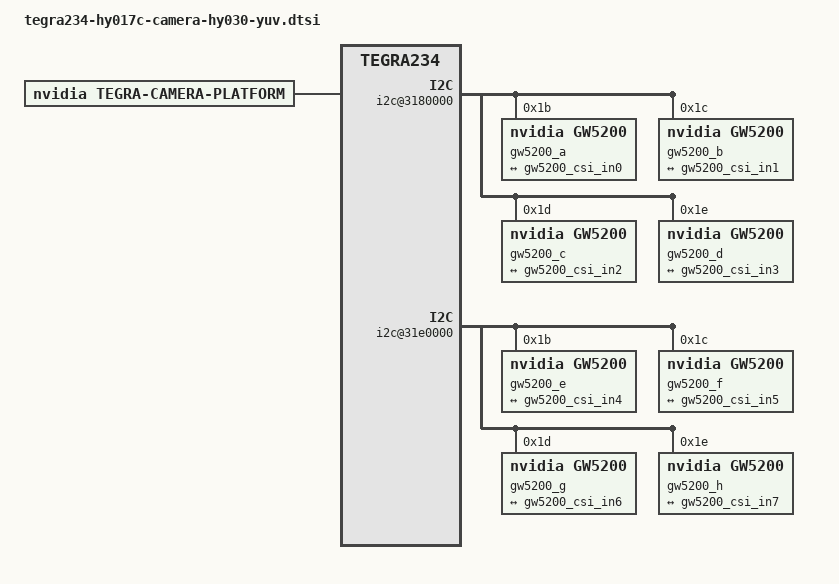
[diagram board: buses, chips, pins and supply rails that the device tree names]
/*
 * Copyright (c) 2018, NVIDIA CORPORATION.  All rights reserved.
 *
 * This program is free software; you can redistribute it and/or modify
 * it under the terms of the GNU General Public License as published by
 * the Free Software Foundation; either version 2 of the License, or
 * (at your option) any later version.
 *
 * This program is distributed in the hope that it will be useful, but WITHOUT
 * ANY WARRANTY; without even the implied warranty of MERCHANTABILITY or
 * FITNESS FOR A PARTICULAR PURPOSE.  See the GNU General Public License for
 * more details.
 *
 * You should have received a copy of the GNU General Public License
 * along with this program.  If not, see <http://www.gnu.org/licenses/>.
 */



/ {
		tegra-capture-vi {
			num-channels = <8>;
			ports {
				#address-cells = <1>;
				#size-cells = <0>;
            #if 1
				port@0 {
					reg = <0>;
					gw5200_vi_in0: endpoint {
						vc-id = <0>;
						port-index = <0>;
						bus-width = <4>;
						remote-endpoint = <&gw5200_csi_out0>;
					};
				};
				port@1 {
					reg = <1>;
					gw5200_vi_in1: endpoint {
						vc-id = <1>;
						port-index = <0>;
						bus-width = <4>;
						remote-endpoint = <&gw5200_csi_out1>;
					};
				};
				port@2 {
					reg = <2>;
					gw5200_vi_in2: endpoint {
						vc-id = <0>;
						port-index = <2>;
						bus-width = <4>;
						remote-endpoint = <&gw5200_csi_out2>;
					};
				};
				port@3 {
					reg = <3>;
					gw5200_vi_in3: endpoint {
						vc-id = <1>;
						port-index = <2>;
						bus-width = <4>;
						remote-endpoint = <&gw5200_csi_out3>;
					};
				};
            #endif
            #if 1
				port@4 {
					reg = <4>;
					gw5200_vi_in4: endpoint {
						vc-id = <0>;
						port-index = <5>;
						bus-width = <4>;
						remote-endpoint = <&gw5200_csi_out4>;
					};
				};
				port@5 {
					reg = <5>;
					gw5200_vi_in5: endpoint {
						vc-id = <1>;
						port-index = <5>;
						bus-width = <4>;
						remote-endpoint = <&gw5200_csi_out5>;
					};
				};	
				port@6 {
					reg = <6>;
					gw5200_vi_in6: endpoint {
						vc-id = <0>;
						port-index = <4>;
						bus-width = <4>;
						remote-endpoint = <&gw5200_csi_out6>;
					};
				};
				port@7 {
					reg = <7>;
					gw5200_vi_in7: endpoint {
						vc-id = <1>;
						port-index = <4>;
						bus-width = <4>;
						remote-endpoint = <&gw5200_csi_out7>;
					};
				};
            #endif
			};
		};

	host1x@13e00000 {
		nvcsi@15a00000 {
			num-channels = <8>;
			#address-cells = <1>;
			#size-cells = <0>;
        #if 1
			channel@0 {
				reg = <0>;
				ports {
					#address-cells = <1>;
					#size-cells = <0>;
					port@0 {
						reg = <0>;
						gw5200_csi_in0: endpoint@0 {
							port-index = <0>;
							bus-width = <4>;
							remote-endpoint = <&gw5200_gw5200_out0>;
						};
					};

					port@1 {
						reg = <1>;
						gw5200_csi_out0: endpoint@1 {
							remote-endpoint = <&gw5200_vi_in0>;
						};
					};

				};
			};
			channel@1 {
				reg = <1>;
				ports {
					#address-cells = <1>;
					#size-cells = <0>;
					port@0 {
						reg = <0>;
						gw5200_csi_in1: endpoint@2 {
							port-index = <0>;
							bus-width = <4>;
							remote-endpoint = <&gw5200_gw5200_out1>;
						};
					};
					port@1 {
						reg = <1>;
						gw5200_csi_out1: endpoint@3 {
							remote-endpoint = <&gw5200_vi_in1>;
						};
					};
				};
			};
			channel@2 {
				reg = <2>;
				ports {
					#address-cells = <1>;
					#size-cells = <0>;
					port@0 {
						reg = <0>;
						gw5200_csi_in2: endpoint@4 {
							port-index = <2>;
							bus-width = <4>;
							remote-endpoint = <&gw5200_gw5200_out2>;
						};
					};
					port@1 {
						reg = <1>;
						gw5200_csi_out2: endpoint@5 {
							remote-endpoint = <&gw5200_vi_in2>;
						};
					};
				};
			};
			channel@3 {
				reg = <3>;
				ports {
					#address-cells = <1>;
					#size-cells = <0>;
					port@0 {
						reg = <0>;
						gw5200_csi_in3: endpoint@6 {
							port-index = <2>;
							bus-width = <4>;
							remote-endpoint = <&gw5200_gw5200_out3>;
						};
					};
					port@1 {
						reg = <1>;
						gw5200_csi_out3: endpoint@7 {
							remote-endpoint = <&gw5200_vi_in3>;
						};
					};
				};
			};
        #endif
        #if 1
			channel@4 {
				reg = <4>;
				ports {
					#address-cells = <1>;
					#size-cells = <0>;
					port@0 {
						reg = <0>;
						gw5200_csi_in4: endpoint@8 {
							port-index = <6>;
							bus-width = <4>;
							remote-endpoint = <&gw5200_gw5200_out4>;
						};
					};

					port@1 {
						reg = <1>;
						gw5200_csi_out4: endpoint@9 {
							remote-endpoint = <&gw5200_vi_in4>;
						};
					};

				};
			};
			channel@5 {
				reg = <5>;
				ports {
					#address-cells = <1>;
					#size-cells = <0>;
					port@0 {
						reg = <0>;
						gw5200_csi_in5: endpoint@10 {
							port-index = <6>;
							bus-width = <4>;
							remote-endpoint = <&gw5200_gw5200_out5>;
						};
					};
					port@1 {
						reg = <1>;
						gw5200_csi_out5: endpoint@11 {
							remote-endpoint = <&gw5200_vi_in5>;
						};
					};
				};
			};
			channel@6 {
				reg = <6>;
				ports {
					#address-cells = <1>;
					#size-cells = <0>;
					port@0 {
						reg = <0>;
						gw5200_csi_in6: endpoint@12 {
							port-index = <4>;
							bus-width = <4>;
							remote-endpoint = <&gw5200_gw5200_out6>;
						};
					};
					port@1 {
						reg = <1>;
						gw5200_csi_out6: endpoint@13 {
							remote-endpoint = <&gw5200_vi_in6>;
						};
					};
				};
			};
			channel@7 {
				reg = <7>;
				ports {
					#address-cells = <1>;
					#size-cells = <0>;
					port@0 {
						reg = <0>;
						gw5200_csi_in7: endpoint@14 {
							port-index = <4>;
							bus-width = <4>;
							remote-endpoint = <&gw5200_gw5200_out7>;
						};
					};
					port@1 {
						reg = <1>;
						gw5200_csi_out7: endpoint@15 {
							remote-endpoint = <&gw5200_vi_in7>;
						};
					};
				};
			};
        #endif
		};

	};

	i2c@3180000 {

			gw5200_a@1b {
				compatible = "nvidia,gw5200";

				reg = <0x1b>;

				/* Physical dimensions of sensor */
				physical_w = "15.0";
				physical_h = "12.5";

				sensor_model ="hy030";

				/* Defines number of frames to be dropped by driver internally after applying */
				/* sensor crop settings. Some sensors send corrupt frames after applying */
				/* crop co-ordinates */
				post_crop_frame_drop = "2";

				/* Convert Gain to unit of dB (decibel) befor passing to kernel driver */
				use_decibel_gain = "true";

				/* enable CID_SENSOR_MODE_ID for sensor modes selection */
				use_sensor_mode_id = "true";

				mode0 {/*mode HY030_MODE_1920X1080_CROP_30FPS*/
					mclk_khz = "24000";
					num_lanes = "4";
					tegra_sinterface = "serial_a";
					vc_id = "0";
					discontinuous_clk = "no";
					dpcm_enable = "false";
					cil_settletime = "0";
					mode_type = "yuv";
					pixel_phase = "yuyv";
					csi_pixel_bit_depth = "16";

					active_w = "1920";
					active_h = "1080";
					readout_orientation = "0";
					line_length = "4400";
					inherent_gain = "1";
					pix_clk_hz = "148500000";
					serdes_pix_clk_hz = "300000000";

					gain_factor = "10";
					min_gain_val = "0"; /* dB */
					max_gain_val = "300"; /* dB */
					step_gain_val = "3"; /* 0.3 */
					default_gain = "0";
					min_hdr_ratio = "1";
					max_hdr_ratio = "1";
					framerate_factor = "1000000";
					min_framerate = "30000000";
					max_framerate = "30000000";
					step_framerate = "1";
					default_framerate = "30000000";
					exposure_factor = "1000000";
					min_exp_time = "59"; /*us, 2 lines*/
					max_exp_time = "33333";
					step_exp_time = "1";
					default_exp_time = "33333";/* us */
					embedded_metadata_height = "0";
				};
				ports {
					#address-cells = <1>;
					#size-cells = <0>;
					port@0 {
						reg = <0>;
						gw5200_gw5200_out0: endpoint {
							vc-id = <0>;
							port-index = <0>;
							bus-width = <4>;
							remote-endpoint = <&gw5200_csi_in0>;
							};
						};
					};
				gmsl-link {
					src-csi-port = "b";
					dst-csi-port = "b";
					serdes-csi-link = "a";
					csi-mode = "1x4";
					st-vc = <0>;
					vc-id = <0>;
					num-lanes = <4>;
					streams = "yuv422-8";
					};
				};
			gw5200_b@1c {
				compatible = "nvidia,gw5200";

				reg = <0x1c>;

				/* Physical dimensions of sensor */
				physical_w = "15.0";
				physical_h = "12.5";

				sensor_model ="hy030";

				/* Defines number of frames to be dropped by driver internally after applying */
				/* sensor crop settings. Some sensors send corrupt frames after applying */
				/* crop co-ordinates */
				post_crop_frame_drop = "2";

				/* Convert Gain to unit of dB (decibel) befor passing to kernel driver */
				use_decibel_gain = "true";

				/* enable CID_SENSOR_MODE_ID for sensor modes selection */
				use_sensor_mode_id = "true";

				mode0 {/*mode HY030_MODE_1920X1080_CROP_30FPS*/
					mclk_khz = "24000";
					num_lanes = "4";
					tegra_sinterface = "serial_a";
					vc_id = "1";
					discontinuous_clk = "no";
					dpcm_enable = "false";
					cil_settletime = "0";
					mode_type = "yuv";
					pixel_phase = "yuyv";
					csi_pixel_bit_depth = "16";

					active_w = "1920";
					active_h = "1080";
					readout_orientation = "0";
					line_length = "4400";
					inherent_gain = "1";
					pix_clk_hz = "148500000";
					serdes_pix_clk_hz = "300000000";

					gain_factor = "10";
					min_gain_val = "0"; /* dB */
					max_gain_val = "300"; /* dB */
					step_gain_val = "3"; /* 0.3 */
					default_gain = "0";
					min_hdr_ratio = "1";
					max_hdr_ratio = "1";
					framerate_factor = "1000000";
					min_framerate = "30000000";
					max_framerate = "30000000";
					step_framerate = "1";
					default_framerate = "30000000";
					exposure_factor = "1000000";
					min_exp_time = "59"; /*us, 2 lines*/
					max_exp_time = "33333";
					step_exp_time = "1";
					default_exp_time = "33333";/* us */
					embedded_metadata_height = "0";
				};
				ports {
					#address-cells = <1>;
					#size-cells = <0>;
					port@0 {
						reg = <0>;
						gw5200_gw5200_out1: endpoint {
							vc-id = <1>;
							port-index = <0>;
							bus-width = <4>;
							remote-endpoint = <&gw5200_csi_in1>;
							};
						};
					};
				gmsl-link {
					src-csi-port = "b";
					dst-csi-port = "b";
					serdes-csi-link = "b";
					csi-mode = "1x4";
					st-vc = <0>;
					vc-id = <1>;
					num-lanes = <4>;
					streams = "yuv422-8";
					};
				};

			gw5200_c@1d {
				compatible = "nvidia,gw5200";

				reg = <0x1d>;

				/* Physical dimensions of sensor */
				physical_w = "15.0";
				physical_h = "12.5";

				sensor_model ="hy030";

				/* Defines number of frames to be dropped by driver internally after applying */
				/* sensor crop settings. Some sensors send corrupt frames after applying */
				/* crop co-ordinates */
				post_crop_frame_drop = "2";

				/* Convert Gain to unit of dB (decibel) befor passing to kernel driver */
				use_decibel_gain = "true";

				/* enable CID_SENSOR_MODE_ID for sensor modes selection */
				use_sensor_mode_id = "true";

				mode0 {/*mode HY030_MODE_1920X1080_CROP_30FPS*/
					mclk_khz = "24000";
					num_lanes = "4";
					tegra_sinterface = "serial_c";
					vc_id = "0";
					discontinuous_clk = "no";
					dpcm_enable = "false";
					cil_settletime = "0";
					mode_type = "yuv";
					pixel_phase = "yuyv";
					csi_pixel_bit_depth = "16";

					active_w = "1920";
					active_h = "1080";
					readout_orientation = "0";
					line_length = "4400";
					inherent_gain = "1";
					pix_clk_hz = "148500000";
					serdes_pix_clk_hz = "300000000";

					gain_factor = "10";
					min_gain_val = "0"; /* dB */
					max_gain_val = "300"; /* dB */
					step_gain_val = "3"; /* 0.3 */
					default_gain = "0";
					min_hdr_ratio = "1";
					max_hdr_ratio = "1";
					framerate_factor = "1000000";
					min_framerate = "30000000";
					max_framerate = "30000000";
					step_framerate = "1";
					default_framerate = "30000000";
					exposure_factor = "1000000";
					min_exp_time = "59"; /*us, 2 lines*/
					max_exp_time = "33333";
					step_exp_time = "1";
					default_exp_time = "33333";/* us */
					embedded_metadata_height = "0";
				};
				ports {
					#address-cells = <1>;
					#size-cells = <0>;
					port@0 {
						reg = <0>;
						gw5200_gw5200_out2: endpoint {
							vc-id = <0>;
							port-index = <2>;
							bus-width = <4>;
							remote-endpoint = <&gw5200_csi_in2>;
							};
						};
					};
				gmsl-link {
					src-csi-port = "b";
					dst-csi-port = "b";
					serdes-csi-link = "a";
					csi-mode = "1x4";
					st-vc = <0>;
					vc-id = <0>;
					num-lanes = <4>;
					streams = "yuv422-8";
					};
				};

			gw5200_d@1e{
				compatible = "nvidia,gw5200";

				reg = <0x1e>;

				/* Physical dimensions of sensor */
				physical_w = "15.0";
				physical_h = "12.5";

				sensor_model ="hy030";

				/* Defines number of frames to be dropped by driver internally after applying */
				/* sensor crop settings. Some sensors send corrupt frames after applying */
				/* crop co-ordinates */
				post_crop_frame_drop = "2";

				/* Convert Gain to unit of dB (decibel) befor passing to kernel driver */
				use_decibel_gain = "true";

				/* enable CID_SENSOR_MODE_ID for sensor modes selection */
				use_sensor_mode_id = "true";

				mode0 {/*mode HY030_MODE_1920X1080_CROP_30FPS*/
					mclk_khz = "24000";
					num_lanes = "4";
					tegra_sinterface = "serial_c";
					vc_id = "1";
					discontinuous_clk = "no";
					dpcm_enable = "false";
					cil_settletime = "0";
					mode_type = "yuv";
					pixel_phase = "yuyv";
					csi_pixel_bit_depth = "16";

					active_w = "1920";
					active_h = "1080";
					readout_orientation = "0";
					line_length = "4400";
					inherent_gain = "1";
					pix_clk_hz = "148500000";
					serdes_pix_clk_hz = "300000000";

					gain_factor = "10";
					min_gain_val = "0"; /* dB */
					max_gain_val = "300"; /* dB */
					step_gain_val = "3"; /* 0.3 */
					default_gain = "0";
					min_hdr_ratio = "1";
					max_hdr_ratio = "1";
					framerate_factor = "1000000";
					min_framerate = "30000000";
					max_framerate = "30000000";
					step_framerate = "1";
					default_framerate = "30000000";
					exposure_factor = "1000000";
					min_exp_time = "59"; /*us, 2 lines*/
					max_exp_time = "33333";
					step_exp_time = "1";
					default_exp_time = "33333";/* us */
					embedded_metadata_height = "0";
				};
				ports {
					#address-cells = <1>;
					#size-cells = <0>;
					port@0 {
						reg = <0>;
						gw5200_gw5200_out3: endpoint {
							vc-id = <1>;
							port-index = <2>;
							bus-width = <4>;
							remote-endpoint = <&gw5200_csi_in3>;
							};
						};
					};
				gmsl-link {
					src-csi-port = "b";
					dst-csi-port = "b";
					serdes-csi-link = "b";
					csi-mode = "1x4";
					st-vc = <0>;
					vc-id = <1>;
					num-lanes = <4>;
					streams = "yuv422-8";
					};
				};
	};
    #if 1
	i2c@31e0000 {
			gw5200_e@1b {
				compatible = "nvidia,gw5200";

				reg = <0x1b>;

				/* Physical dimensions of sensor */
				physical_w = "15.0";
				physical_h = "12.5";

				sensor_model ="hy030";

				/* Defines number of frames to be dropped by driver internally after applying */
				/* sensor crop settings. Some sensors send corrupt frames after applying */
				/* crop co-ordinates */
				post_crop_frame_drop = "2";

				/* Convert Gain to unit of dB (decibel) befor passing to kernel driver */
				use_decibel_gain = "true";

				/* enable CID_SENSOR_MODE_ID for sensor modes selection */
				use_sensor_mode_id = "true";

				mode0 {/*mode HY030_MODE_1920X1080_CROP_30FPS*/
					mclk_khz = "24000";
					num_lanes = "4";
					tegra_sinterface = "serial_g";
					vc_id = "0";
					discontinuous_clk = "no";
					dpcm_enable = "false";
					cil_settletime = "0";
					mode_type = "yuv";
					pixel_phase = "yuyv";
					csi_pixel_bit_depth = "16";

					active_w = "1920";
					active_h = "1080";
					readout_orientation = "0";
					line_length = "4400";
					inherent_gain = "1";
					pix_clk_hz = "148500000";
					serdes_pix_clk_hz = "300000000";

					gain_factor = "10";
					min_gain_val = "0"; /* dB */
					max_gain_val = "300"; /* dB */
					step_gain_val = "3"; /* 0.3 */
					default_gain = "0";
					min_hdr_ratio = "1";
					max_hdr_ratio = "1";
					framerate_factor = "1000000";
					min_framerate = "30000000";
					max_framerate = "30000000";
					step_framerate = "1";
					default_framerate = "30000000";
					exposure_factor = "1000000";
					min_exp_time = "59"; /*us, 2 lines*/
					max_exp_time = "33333";
					step_exp_time = "1";
					default_exp_time = "33333";/* us */
					embedded_metadata_height = "0";
				};
				ports {
					#address-cells = <1>;
					#size-cells = <0>;
					port@0 {
						reg = <0>;
						gw5200_gw5200_out4: endpoint {
							vc-id = <0>;
							port-index = <6>;
							bus-width = <4>;
							remote-endpoint = <&gw5200_csi_in4>;
							};
						};
					};
				gmsl-link {
					src-csi-port = "b";
					dst-csi-port = "b";
					serdes-csi-link = "a";
					csi-mode = "1x4";
					st-vc = <0>;
					vc-id = <0>;
					num-lanes = <4>;
					streams = "yuv422-8";
					};
				};
			gw5200_f@1c {
				compatible = "nvidia,gw5200";

				reg = <0x1c>;

				/* Physical dimensions of sensor */
				physical_w = "15.0";
				physical_h = "12.5";

				sensor_model ="hy030";

				/* Defines number of frames to be dropped by driver internally after applying */
				/* sensor crop settings. Some sensors send corrupt frames after applying */
				/* crop co-ordinates */
				post_crop_frame_drop = "2";

				/* Convert Gain to unit of dB (decibel) befor passing to kernel driver */
				use_decibel_gain = "true";

				/* enable CID_SENSOR_MODE_ID for sensor modes selection */
				use_sensor_mode_id = "true";

				mode0 {/*mode HY030_MODE_1920X1080_CROP_30FPS*/
					mclk_khz = "24000";
					num_lanes = "4";
					tegra_sinterface = "serial_g";
					vc_id = "1";
					discontinuous_clk = "no";
					dpcm_enable = "false";
					cil_settletime = "0";
					mode_type = "yuv";
					pixel_phase = "yuyv";
					csi_pixel_bit_depth = "16";

					active_w = "1920";
					active_h = "1080";
					readout_orientation = "0";
					line_length = "4400";
					inherent_gain = "1";
					pix_clk_hz = "148500000";
					serdes_pix_clk_hz = "300000000";

					gain_factor = "10";
					min_gain_val = "0"; /* dB */
					max_gain_val = "300"; /* dB */
					step_gain_val = "3"; /* 0.3 */
					default_gain = "0";
					min_hdr_ratio = "1";
					max_hdr_ratio = "1";
					framerate_factor = "1000000";
					min_framerate = "30000000";
					max_framerate = "30000000";
					step_framerate = "1";
					default_framerate = "30000000";
					exposure_factor = "1000000";
					min_exp_time = "59"; /*us, 2 lines*/
					max_exp_time = "33333";
					step_exp_time = "1";
					default_exp_time = "33333";/* us */
					embedded_metadata_height = "0";
				};
				ports {
					#address-cells = <1>;
					#size-cells = <0>;
					port@0 {
						reg = <0>;
						gw5200_gw5200_out5: endpoint {
							vc-id = <1>;
							port-index = <6>;
							bus-width = <4>;
							remote-endpoint = <&gw5200_csi_in5>;
							};
						};
					};
				gmsl-link {
					src-csi-port = "b";
					dst-csi-port = "b";
					serdes-csi-link = "b";
					csi-mode = "1x4";
					st-vc = <0>;
					vc-id = <1>;
					num-lanes = <4>;
					streams = "yuv422-8";
					};
				};

			gw5200_g@1d {
				compatible = "nvidia,gw5200";

				reg = <0x1d>;

				/* Physical dimensions of sensor */
				physical_w = "15.0";
				physical_h = "12.5";

				sensor_model ="hy030";

				/* Defines number of frames to be dropped by driver internally after applying */
				/* sensor crop settings. Some sensors send corrupt frames after applying */
				/* crop co-ordinates */
				post_crop_frame_drop = "2";

				/* Convert Gain to unit of dB (decibel) befor passing to kernel driver */
				use_decibel_gain = "true";

				/* enable CID_SENSOR_MODE_ID for sensor modes selection */
				use_sensor_mode_id = "true";

				mode0 {/*mode HY030_MODE_1920X1080_CROP_30FPS*/
					mclk_khz = "24000";
					num_lanes = "4";
					tegra_sinterface = "serial_e";
					vc_id = "0";
					discontinuous_clk = "no";
					dpcm_enable = "false";
					cil_settletime = "0";
					mode_type = "yuv";
					pixel_phase = "yuyv";
					csi_pixel_bit_depth = "16";

					active_w = "1920";
					active_h = "1080";
					readout_orientation = "0";
					line_length = "4400";
					inherent_gain = "1";
					pix_clk_hz = "148500000";
					serdes_pix_clk_hz = "300000000";

					gain_factor = "10";
					min_gain_val = "0"; /* dB */
					max_gain_val = "300"; /* dB */
					step_gain_val = "3"; /* 0.3 */
					default_gain = "0";
					min_hdr_ratio = "1";
					max_hdr_ratio = "1";
					framerate_factor = "1000000";
					min_framerate = "30000000";
					max_framerate = "30000000";
					step_framerate = "1";
					default_framerate = "30000000";
					exposure_factor = "1000000";
					min_exp_time = "59"; /*us, 2 lines*/
					max_exp_time = "33333";
					step_exp_time = "1";
					default_exp_time = "33333";/* us */
					embedded_metadata_height = "0";
				};
				ports {
					#address-cells = <1>;
					#size-cells = <0>;
					port@0 {
						reg = <0>;
						gw5200_gw5200_out6: endpoint {
							vc-id = <0>;
							port-index = <4>;
							bus-width = <4>;
							remote-endpoint = <&gw5200_csi_in6>;
							};
						};
					};
				gmsl-link {
					src-csi-port = "b";
					dst-csi-port = "b";
					serdes-csi-link = "a";
					csi-mode = "1x4";
					st-vc = <0>;
					vc-id = <0>;
					num-lanes = <4>;
					streams = "yuv422-8";
					};
				};

			gw5200_h@1e{
				compatible = "nvidia,gw5200";

				reg = <0x1e>;

				/* Physical dimensions of sensor */
				physical_w = "15.0";
				physical_h = "12.5";

				sensor_model ="hy030";

				/* Defines number of frames to be dropped by driver internally after applying */
				/* sensor crop settings. Some sensors send corrupt frames after applying */
				/* crop co-ordinates */
				post_crop_frame_drop = "2";

				/* Convert Gain to unit of dB (decibel) befor passing to kernel driver */
				use_decibel_gain = "true";

				/* enable CID_SENSOR_MODE_ID for sensor modes selection */
				use_sensor_mode_id = "true";

				mode0 {/*mode HY030_MODE_1920X1080_CROP_30FPS*/
					mclk_khz = "24000";
					num_lanes = "4";
					tegra_sinterface = "serial_e";
					vc_id = "1";
					discontinuous_clk = "no";
					dpcm_enable = "false";
					cil_settletime = "0";
					mode_type = "yuv";
					pixel_phase = "yuyv";
					csi_pixel_bit_depth = "16";

					active_w = "1920";
					active_h = "1080";
					readout_orientation = "0";
					line_length = "4400";
					inherent_gain = "1";
					pix_clk_hz = "148500000";
					serdes_pix_clk_hz = "300000000";

					gain_factor = "10";
					min_gain_val = "0"; /* dB */
					max_gain_val = "300"; /* dB */
					step_gain_val = "3"; /* 0.3 */
					default_gain = "0";
					min_hdr_ratio = "1";
					max_hdr_ratio = "1";
					framerate_factor = "1000000";
					min_framerate = "30000000";
					max_framerate = "30000000";
					step_framerate = "1";
					default_framerate = "30000000";
					exposure_factor = "1000000";
					min_exp_time = "59"; /*us, 2 lines*/
					max_exp_time = "33333";
					step_exp_time = "1";
					default_exp_time = "33333";/* us */
					embedded_metadata_height = "0";
				};
				ports {
					#address-cells = <1>;
					#size-cells = <0>;
					port@0 {
						reg = <0>;
						gw5200_gw5200_out7: endpoint {
							vc-id = <1>;
							port-index = <4>;
							bus-width = <4>;
							remote-endpoint = <&gw5200_csi_in7>;
							};
						};
					};
				gmsl-link {
					src-csi-port = "b";
					dst-csi-port = "b";
					serdes-csi-link = "b";
					csi-mode = "1x4";
					st-vc = <0>;
					vc-id = <1>;
					num-lanes = <4>;
					streams = "yuv422-8";
					};
				};

	};
    #endif

};

/ {

	tegra-camera-platform {
		compatible = "nvidia, tegra-camera-platform";
		/**
		* Physical settings to calculate max ISO BW
		*
		* num_csi_lanes = <>;
		* Total number of CSI lanes when all cameras are active
		*
		* max_lane_speed = <>;
		* Max lane speed in Kbit/s
		*
		* min_bits_per_pixel = <>;
		* Min bits per pixel
		*
		* vi_peak_byte_per_pixel = <>;
		* Max byte per pixel for the VI ISO case
		*
		* vi_bw_margin_pct = <>;
		* Vi bandwidth margin in percentage
		*
		* max_pixel_rate = <>;
		* Max pixel rate in Kpixel/s for the ISP ISO case
		*
		* isp_peak_byte_per_pixel = <>;
		* Max byte per pixel for the ISP ISO case
		*
		* isp_bw_margin_pct = <>;
		* Isp bandwidth margin in percentage
		*/
		num_csi_lanes = <8>;
		max_lane_speed = <4000000>;
		min_bits_per_pixel = <10>;
		vi_peak_byte_per_pixel = <2>;
		vi_bw_margin_pct = <25>;
		isp_peak_byte_per_pixel = <5>;
		isp_bw_margin_pct = <25>;

		/**
		 * The general guideline for naming badge_info contains 3 parts, and is as follows,
		 * The first part is the camera_board_id for the module; if the module is in a FFD
		 * platform, then use the platform name for this part.
		 * The second part contains the position of the module, ex. "rear" or "front".
		 * The third part contains the last 6 characters of a part number which is found
		 * in the module's specsheet from the vender.
		 */
		modules {

			module0 {
				badge = "gw5200_bottomleft";
				position = "camera_0";
				orientation = "0";
				drivernode0 {
					pcl_id = "v4l2_sensor";
					devname = "gw5200 2-001b";
					proc-device-tree = "/proc/device-tree/i2c@3180000/gw5200_a@1b";
				};
			};
			module1 {
				badge = "gw5200_bottomright";
				position = "camera_1";
				orientation = "0";
				drivernode0 {
					pcl_id = "v4l2_sensor";
					devname = "gw5200 2-001c";
					proc-device-tree = "/proc/device-tree/i2c@3180000/gw5200_b@1c";
				};
			};
			module2 {
				badge = "gw5200_bottomleft";
				position = "camera_2";
				orientation = "0";
				drivernode0 {
					pcl_id = "v4l2_sensor";
					devname = "gw5200 2-001d";
					proc-device-tree = "/proc/device-tree/i2c@3180000/gw5200_c@1d";
				};
			};
			module3 {
				badge = "gw5200_bottomleft";
				position = "camera_3";
				orientation = "0";
				drivernode0 {
					pcl_id = "v4l2_sensor";
					devname = "gw5200 2-001e";
					proc-device-tree = "/proc/device-tree/i2c@3180000/gw5200_d@1e";
				};
			};
           #if 1
			module4 {
				badge = "gw5200_topleft";
				position = "camera_4";
				orientation = "0";
				drivernode0 {
					pcl_id = "v4l2_sensor";
					devname = "gw5200 7-001b";
					proc-device-tree = "/proc/device-tree/i2c@c250000/gw5200_e@1b";
				};
			};
			module5 {
				badge = "gw5200_topright";
				position = "camera_5";
				orientation = "0";
				drivernode0 {
					pcl_id = "v4l2_sensor";
					devname = "gw5200 7-001c";
					proc-device-tree = "/proc/device-tree/i2c@c250000/gw5200_f@1c";
				};
			};
			module6 {
				badge = "gw5200_centerleft";
				position = "camera_6";
				orientation = "0";
				drivernode0 {
					pcl_id = "v4l2_sensor";
					devname = "gw5200 7-001d";
					proc-device-tree = "/proc/device-tree/i2c@c250000/gw5200_g@1d";
				};
			};
			module7 {
				badge = "gw5200_centerrigth";
				position = "camera_7";
				orientation = "0";
				drivernode0 {
					pcl_id = "v4l2_sensor";
					devname = "gw5200 7-001e";
					proc-device-tree = "/proc/device-tree/i2c@c250000/gw5200_h@1e";
				};
			};
            #endif
		};
	};
};
